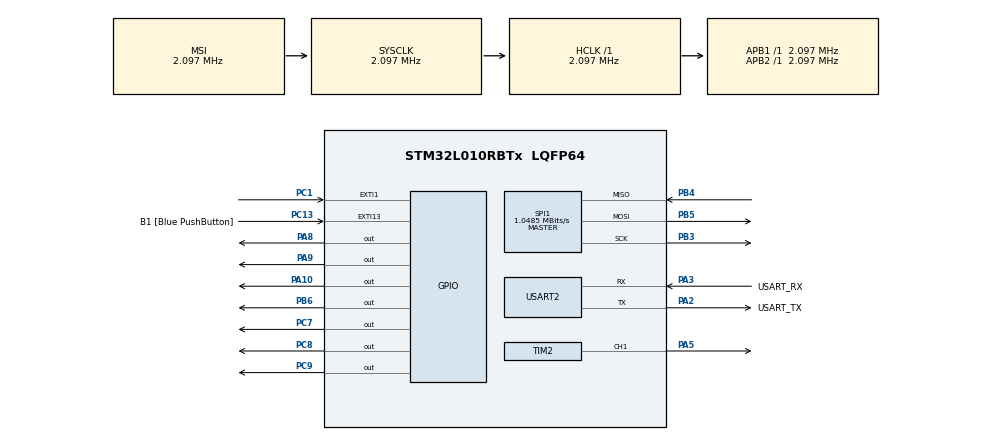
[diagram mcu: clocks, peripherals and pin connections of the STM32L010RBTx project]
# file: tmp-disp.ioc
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Mcu.Family=STM32L0
Mcu.Name=STM32L010RBTx
Mcu.Package=LQFP64
NVIC.EXTI0_1_IRQn=true\:0\:0\:false\:false\:true\:true\:true\:true
NVIC.EXTI4_15_IRQn=true\:0\:0\:false\:false\:true\:true\:true\:true
NVIC.TIM21_IRQn=true\:0\:0\:false\:false\:true\:true\:true\:true
PA10.Signal=GPIO_Output
PA13.GPIO_Label=TMS
PA13.Mode=Serial_Wire
PA13.Signal=SYS_SWDIO
PA14.GPIO_Label=TCK
PA14.Mode=Serial_Wire
PA14.Signal=SYS_SWCLK
PA2.GPIO_Label=USART_TX
PA2.Mode=Asynchronous
PA2.Signal=USART2_TX
PA3.GPIO_Label=USART_RX
PA3.Mode=Asynchronous
PA3.Signal=USART2_RX
PA5.Signal=S_TIM2_CH1
PA8.Signal=GPIO_Output
PA9.Signal=GPIO_Output
PB3.Mode=Full_Duplex_Master
PB3.Signal=SPI1_SCK
PB4.Mode=Full_Duplex_Master
PB4.Signal=SPI1_MISO
PB5.Mode=Full_Duplex_Master
PB5.Signal=SPI1_MOSI
PB6.Signal=GPIO_Output
PC1.GPIO_ModeDefaultEXTI=GPIO_MODE_IT_FALLING
PC1.Signal=GPXTI1
PC13.GPIO_Label=B1 [Blue PushButton]
PC13.GPIO_ModeDefaultEXTI=GPIO_MODE_IT_FALLING
PC13.Signal=GPXTI13
PC14-OSC32_IN.Mode=LSE-External-Oscillator
PC14-OSC32_IN.Signal=RCC_OSC32_IN
PC15-OSC32_OUT.Mode=LSE-External-Oscillator
PC15-OSC32_OUT.Signal=RCC_OSC32_OUT
PC7.Signal=GPIO_Output
PC8.Signal=GPIO_Output
PC9.Signal=GPIO_Output
PH0-OSC_IN.GPIO_Label=MCO
PH0-OSC_IN.Mode=HSE-External-Clock-Source
PH0-OSC_IN.Signal=RCC_OSC_IN
ProjectManager.HeapSize=0x200
ProjectManager.StackSize=0x400
ProjectManager.TargetToolchain=STM32CubeIDE
RCC.AHBFreq_Value=2097000
RCC.APB1Freq_Value=2097000
RCC.APB1TimFreq_Value=2097000
RCC.APB2Freq_Value=2097000
RCC.APB2TimFreq_Value=2097000
RCC.HCLKFreq_Value=2097000
RCC.HSE_VALUE=8000000
RCC.HSI16_VALUE=16000000
RCC.HSI48_VALUE=48000000
RCC.HSI_VALUE=16000000
RCC.MSI_VALUE=2097000
RCC.SYSCLKFreq_VALUE=2097000
RCC.VCOOutputFreq_Value=48000000
SH.S_TIM2_CH1.0=TIM2_CH1,PWM Generation1 CH1
SPI1.CalculateBaudRate=1.0485 MBits/s
SPI1.Direction=SPI_DIRECTION_2LINES
SPI1.Mode=SPI_MODE_MASTER
SPI1.VirtualType=VM_MASTER
TIM2.Channel-PWM\ Generation1\ CH1=TIM_CHANNEL_1
TIM2.Period=2096
TIM2.Prescaler=0
TIM21.Period=1000-1
TIM21.Prescaler=2097-1
USART2.VirtualMode-Asynchronous=VM_ASYNC
VP_TIM21_VS_ClockSourceINT.Mode=Internal
board=NUCLEO-L010RB

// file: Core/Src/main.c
/* USER CODE BEGIN Header */
/**
  ******************************************************************************
  * @file           : main.c
  * @brief          : Main program body
  ******************************************************************************
  * @attention
  *
  * Copyright (c) 2024 STMicroelectronics.
  * All rights reserved.
  *
  * This software is licensed under terms that can be found in the LICENSE file
  * in the root directory of this software component.
  * If no LICENSE file comes with this software, it is provided AS-IS.
  *
  ******************************************************************************
  */
/* USER CODE END Header */
#include "main.h"

/* USER CODE BEGIN Includes */
#include <stdlib.h>
#include <stdio.h>
#include <string.h>
#include "bme280.h"

// #define USE_XCIOS

#ifdef USE_XCIOS
#include "TmpDisp.h"
#else
#include "TmpDisp.h"
#endif
/* USER CODE END Includes */

/* USER CODE BEGIN PD */
#define RS_PORT GPIOC
#define RS_PIN GPIO_PIN_7
#define EN_PORT GPIOC
#define EN_PIN GPIO_PIN_8
#define D4_PORT GPIOC
#define D4_PIN GPIO_PIN_9
#define D5_PORT GPIOA
#define D5_PIN GPIO_PIN_8
#define D6_PORT GPIOA
#define D6_PIN GPIO_PIN_9
#define D7_PORT GPIOA
#define D7_PIN GPIO_PIN_10

#define CSB_PORT GPIOB
#define CSB_PIN GPIO_PIN_6
/* USER CODE END PD */

SPI_HandleTypeDef hspi1;

TIM_HandleTypeDef htim2;
TIM_HandleTypeDef htim21;

UART_HandleTypeDef huart2;

/* USER CODE BEGIN PV */
static uint8_t txData[200], rxData[200];
static char printBuf[32];
static struct bme280_dev dev;
static volatile int buttonPressed = 0;
static volatile int clock = 0;
/* USER CODE END PV */

void SystemClock_Config(void);
static void MX_GPIO_Init(void);
static void MX_USART2_UART_Init(void);
static void MX_SPI1_Init(void);
static void MX_TIM2_Init(void);
static void MX_TIM21_Init(void);

/* USER CODE BEGIN 0 */

// for printf
int __io_putchar(int ch) {
	HAL_UART_Transmit(&huart2, (const uint8_t*)&ch, 1, HAL_MAX_DELAY);
	return 0;
}

/* BME280 --------------------------------------------------------------------*/

BME280_INTF_RET_TYPE bme280_spi_read(uint8_t reg_addr, uint8_t *reg_data, uint32_t length, void *intf_ptr)
{
  txData[0] = reg_addr | 0x80;
  HAL_GPIO_WritePin(CSB_PORT, CSB_PIN, GPIO_PIN_RESET);
  HAL_SPI_TransmitReceive((SPI_HandleTypeDef*)intf_ptr, txData, rxData, length + 1, HAL_MAX_DELAY);
  HAL_GPIO_WritePin(CSB_PORT, CSB_PIN, GPIO_PIN_SET);
  memcpy(reg_data, &rxData[1], length);
  return BME280_OK;
}

BME280_INTF_RET_TYPE bme280_spi_write(uint8_t reg_addr, const uint8_t *reg_data, uint32_t length, void *intf_ptr)
{
  txData[0] = reg_addr & 0x7F;
  memcpy(&txData[1], reg_data, length);
  HAL_GPIO_WritePin(CSB_PORT, CSB_PIN, GPIO_PIN_RESET);
  HAL_SPI_Transmit((SPI_HandleTypeDef*)intf_ptr, txData, length + 1, HAL_MAX_DELAY);
  HAL_GPIO_WritePin(CSB_PORT, CSB_PIN, GPIO_PIN_SET);
  return BME280_OK;
}

void bme280_delay_us(uint32_t period, void *intf_ptr)
{
  HAL_Delay((period + 999) / 1000); // round up
}

void bme280_error_codes_print_result(const char api_name[], int8_t rslt)
{
    if (rslt != BME280_OK)
    {
        printf("%s\t", api_name);

        switch (rslt)
        {
            case BME280_E_NULL_PTR:
                printf("Error [%d] : Null pointer error.", rslt);
                printf(
                    "It occurs when the user tries to assign value (not address) to a pointer, which has been initialized to NULL.\r\n");
                break;

            case BME280_E_COMM_FAIL:
                printf("Error [%d] : Communication failure error.", rslt);
                printf(
                    "It occurs due to read/write operation failure and also due to power failure during communication\r\n");
                break;

            case BME280_E_DEV_NOT_FOUND:
                printf("Error [%d] : Device not found error. It occurs when the device chip id is incorrectly read\r\n",
                       rslt);
                break;

            case BME280_E_INVALID_LEN:
                printf("Error [%d] : Invalid length error. It occurs when write is done with invalid length\r\n", rslt);
                break;

            default:
                printf("Error [%d] : Unknown error code\r\n", rslt);
                break;
        }
    }
}

void init_bme280(struct bme280_dev *dev) {
  HAL_StatusTypeDef rslt;
  uint8_t chip_id;
  struct bme280_settings settings;

  dev->read = bme280_spi_read;
  dev->write = bme280_spi_write;
  dev->intf = BME280_SPI_INTF;
  dev->intf_ptr = (void*)&hspi1;
  dev->delay_us = bme280_delay_us;

  rslt = bme280_get_regs(BME280_REG_CHIP_ID, &chip_id, 1, dev);
  bme280_error_codes_print_result("bme280_get_regs", rslt);

  if (chip_id != 0x60) while(1);

  rslt = bme280_get_regs(BME280_REG_CONFIG, &chip_id, 1, dev);
  bme280_error_codes_print_result("bme280_get_regs", rslt);

  uint8_t reg_addr = BME280_REG_RESET;
  uint8_t rst = 0xB6;
  rslt = bme280_set_regs(&reg_addr, &rst, 1, dev);
  bme280_error_codes_print_result("bme280_set_regs", rslt);

  rslt = bme280_init(dev);
  bme280_error_codes_print_result("bme280_init", rslt);

  rslt = bme280_get_sensor_settings(&settings, dev);
  bme280_error_codes_print_result("bme280_get_sensor_settings", rslt);

  /* Configuring the over-sampling rate, filter coefficient and standby time */
  /* Overwrite the desired settings */
  settings.filter = BME280_FILTER_COEFF_2;

  /* Over-sampling rate for humidity, temperature and pressure */
  settings.osr_h = BME280_OVERSAMPLING_1X;
  settings.osr_p = BME280_OVERSAMPLING_1X;
  settings.osr_t = BME280_OVERSAMPLING_1X;

  /* Setting the standby time */
  settings.standby_time = BME280_STANDBY_TIME_125_MS;

  rslt = bme280_set_sensor_settings(BME280_SEL_ALL_SETTINGS, &settings, dev);
  bme280_error_codes_print_result("bme280_set_sensor_settings", rslt);

  rslt = bme280_set_sensor_mode(BME280_POWERMODE_NORMAL, dev);
  bme280_error_codes_print_result("bme280_set_sensor_mode", rslt);
}

/* LCD 1602A -----------------------------------------------------------------*/

// rs = 1 for data, rs = 0 for command
void send_lcd(char data, int rs)
{
	HAL_GPIO_WritePin(RS_PORT, RS_PIN, rs);

	HAL_GPIO_WritePin(D7_PORT, D7_PIN, (data >> 3) & 0x01);
	HAL_GPIO_WritePin(D6_PORT, D6_PIN, (data >> 2) & 0x01);
	HAL_GPIO_WritePin(D5_PORT, D5_PIN, (data >> 1) & 0x01);
	HAL_GPIO_WritePin(D4_PORT, D4_PIN, (data >> 0) & 0x01);

	HAL_GPIO_WritePin(EN_PORT, EN_PIN, 1);
	HAL_GPIO_WritePin(EN_PORT, EN_PIN, 0);
}

void lcd_send_cmd(char cmd)
{
	send_lcd((cmd >> 4) & 0x0f, 0); // 上位4bit
	send_lcd((cmd >> 0) & 0x0f, 0); // 下位4bit
}

void lcd_send_data(char data)
{
	send_lcd((data >> 4) & 0x0f, 1);
	send_lcd((data >> 0) & 0x0f, 1);
}

void lcd_send_string(char *str) {
	while (*str) {
		lcd_send_data(*str);
		str++;
	}
}

void lcd_clear() {
	lcd_send_cmd(0x01);
}

void lcd_put_cur(int row, int col)
{
    switch (row)
    {
        case 0:
            col |= 0x80;
            break;
        case 1:
            col |= 0xC0;
            break;
    }
    lcd_send_cmd (col);
}

void lcd_init()
{
    // 4 bit initialisation
    HAL_Delay(50);  // wait for >40ms
    lcd_send_cmd (0x30);
    HAL_Delay(5);  // wait for >4.1ms
    lcd_send_cmd (0x30);
    HAL_Delay(1);  // wait for >100us
    lcd_send_cmd (0x30);
    HAL_Delay(10);
    lcd_send_cmd (0x20);  // 4bit mode
    HAL_Delay(10);

    // dislay initialisation
    lcd_send_cmd (0x28); // Function set --> DL=0 (4 bit mode), N = 1 (2 line display) F = 0 (5x8 characters)
    HAL_Delay(1);
    lcd_send_cmd (0x08); //Display on/off control --> D=0,C=0, B=0  ---> display off
    HAL_Delay(1);
    lcd_send_cmd (0x01);  // clear display
    HAL_Delay(2);
    lcd_send_cmd (0x06); //Entry mode set --> I/D = 1 (increment cursor) & S = 0 (no shift)
    HAL_Delay(1);
    lcd_send_cmd (0x0C); //Display on/off control --> D = 1, C and B = 0. (Cursor and blink, last two bits)
    HAL_Delay(1);
}

void lcd_off() {
    lcd_send_cmd(0x08);
    HAL_Delay(1);
}

/* Interrupt handler ---------------------------------------------------------*/

void HAL_GPIO_EXTI_Callback(uint16_t GPIO_Pin)
{
  if (GPIO_Pin == GPIO_PIN_1)
  {
    buttonPressed = 1;
  }
}

void HAL_TIM_PeriodElapsedCallback(TIM_HandleTypeDef *htim)
{
    if (htim == &htim21)
    {
        clock++;
    }
}

/* XStorm callbacks ----------------------------------------------------------*/

int read_clock() {
	return clock;
}

int read_button() {
	if (buttonPressed)
	{
		buttonPressed = 0;
		return 1;
	}
	else
	{
		return 0;
	}
}

struct TupleDoubleDouble* fetch_tmphmd() {
	struct bme280_data comp_data;
	int8_t rslt = BME280_E_NULL_PTR;

    /* Measurement time delay given to read sample */
    HAL_Delay(125);
    /* Read compensated data */
    rslt = bme280_get_sensor_data(BME280_HUM | BME280_TEMP, &comp_data, &dev);
	bme280_error_codes_print_result("bme280_get_sensor_data", rslt);

    return TupleDoubleDouble_Cons(comp_data.temperature, comp_data.humidity);
}

void turnon_lcd() {
	lcd_init();
	__HAL_TIM_SET_COMPARE(&htim2, TIM_CHANNEL_1, 2096);
}

void turnoff_lcd() {
	lcd_off();
	__HAL_TIM_SET_COMPARE(&htim2, TIM_CHANNEL_1, 0);
}

void display_tmphmd(struct TupleDoubleDouble *tmphmd) {
	lcd_clear();

    sprintf(printBuf, "TMP: %d \xdf""C", (int)tmphmd->member0);
    lcd_put_cur(0, 0);
    HAL_Delay(1);
    lcd_send_string(printBuf);
    HAL_Delay(10);

    sprintf(printBuf, "HMD: %d %%", (int)tmphmd->member1);
    lcd_put_cur(1, 0);
    HAL_Delay(1);
    lcd_send_string(printBuf);
    HAL_Delay(10);
}

#ifndef USE_XCIOS

void input(int* clk, int* show, struct TupleDoubleDouble** tmphmd) {
	*clk = read_clock();
    *show = read_button();
	*tmphmd = fetch_tmphmd();
}

void output(struct TupleDoubleDouble** tmphmd /* , int* nextTmpHmdDispMode */) {
	// static int currTmpHmdDispMode = 0;
    // if (currTmpHmdDispMode == 1) {
	    display_tmphmd(*tmphmd);
    // }

	/*
	if (currTmpHmdDispMode == 0 && *nextTmpHmdDispMode == 1)
	{
		turnon_lcd();
	}
	if (currTmpHmdDispMode == 1 && *nextTmpHmdDispMode == 0)
	{
		turnoff_lcd();
	}
	currTmpHmdDispMode = *nextTmpHmdDispMode;
	*/
}

#endif

/* XCios callbacks -----------------------------------------------------------*/

#ifdef USE_XCIOS

struct TupleDoubleDouble* input_tmpHmd() {
	return fetch_tmphmd();
}

int input_show() {
	return read_button();
}

int input_clock() {
	return read_clock();
}

void output_tmpHmdDisp(struct TupleDoubleDouble* tmphmd) {
	display_tmphmd(tmphmd);
}

void hook_tmpHmdDisp_ModeTmpDispOnOff_On_to_ModeTmpDispOnOff_Off() {
	turnoff_lcd();
}

void hook_tmpHmdDisp_ModeTmpDispOnOff_Off_to_ModeTmpDispOnOff_On() {
	turnon_lcd();
}

#endif

/* USER CODE END 0 */

int main(void)
{

  /* MCU Configuration--------------------------------------------------------*/

  /* Reset of all peripherals, Initializes the Flash interface and the Systick. */
  HAL_Init();

  /* Configure the system clock */
  SystemClock_Config();

  /* Initialize all configured peripherals */
  MX_GPIO_Init();
  MX_USART2_UART_Init();
  MX_SPI1_Init();
  MX_TIM2_Init();
  MX_TIM21_Init();
  /* USER CODE BEGIN 2 */
  init_bme280(&dev);
  HAL_TIM_PWM_Start(&htim2, TIM_CHANNEL_1);
  HAL_TIM_Base_Start_IT(&htim21);
  turnon_lcd();

  activate();
  /* USER CODE END 2 */

  /* Infinite loop */
  while (1)
  {

  }
}

void SystemClock_Config(void)
{
  RCC_OscInitTypeDef RCC_OscInitStruct = {0};
  RCC_ClkInitTypeDef RCC_ClkInitStruct = {0};
  RCC_PeriphCLKInitTypeDef PeriphClkInit = {0};

  /** Configure the main internal regulator output voltage
  */
  __HAL_PWR_VOLTAGESCALING_CONFIG(PWR_REGULATOR_VOLTAGE_SCALE1);

  /** Initializes the RCC Oscillators according to the specified parameters
  * in the RCC_OscInitTypeDef structure.
  */
  RCC_OscInitStruct.OscillatorType = RCC_OSCILLATORTYPE_MSI;
  RCC_OscInitStruct.MSIState = RCC_MSI_ON;
  RCC_OscInitStruct.MSICalibrationValue = 0;
  RCC_OscInitStruct.MSIClockRange = RCC_MSIRANGE_5;
  RCC_OscInitStruct.PLL.PLLState = RCC_PLL_NONE;
  if (HAL_RCC_OscConfig(&RCC_OscInitStruct) != HAL_OK)
  {
    Error_Handler();
  }

  /** Initializes the CPU, AHB and APB buses clocks
  */
  RCC_ClkInitStruct.ClockType = RCC_CLOCKTYPE_HCLK|RCC_CLOCKTYPE_SYSCLK
                              |RCC_CLOCKTYPE_PCLK1|RCC_CLOCKTYPE_PCLK2;
  RCC_ClkInitStruct.SYSCLKSource = RCC_SYSCLKSOURCE_MSI;
  RCC_ClkInitStruct.AHBCLKDivider = RCC_SYSCLK_DIV1;
  RCC_ClkInitStruct.APB1CLKDivider = RCC_HCLK_DIV1;
  RCC_ClkInitStruct.APB2CLKDivider = RCC_HCLK_DIV1;

  if (HAL_RCC_ClockConfig(&RCC_ClkInitStruct, FLASH_LATENCY_0) != HAL_OK)
  {
    Error_Handler();
  }
  PeriphClkInit.PeriphClockSelection = RCC_PERIPHCLK_USART2;
  PeriphClkInit.Usart2ClockSelection = RCC_USART2CLKSOURCE_PCLK1;
  if (HAL_RCCEx_PeriphCLKConfig(&PeriphClkInit) != HAL_OK)
  {
    Error_Handler();
  }
}

static void MX_SPI1_Init(void)
{

  /* SPI1 parameter configuration*/
  hspi1.Instance = SPI1;
  hspi1.Init.Mode = SPI_MODE_MASTER;
  hspi1.Init.Direction = SPI_DIRECTION_2LINES;
  hspi1.Init.DataSize = SPI_DATASIZE_8BIT;
  hspi1.Init.CLKPolarity = SPI_POLARITY_LOW;
  hspi1.Init.CLKPhase = SPI_PHASE_1EDGE;
  hspi1.Init.NSS = SPI_NSS_SOFT;
  hspi1.Init.BaudRatePrescaler = SPI_BAUDRATEPRESCALER_2;
  hspi1.Init.FirstBit = SPI_FIRSTBIT_MSB;
  hspi1.Init.TIMode = SPI_TIMODE_DISABLE;
  hspi1.Init.CRCCalculation = SPI_CRCCALCULATION_DISABLE;
  hspi1.Init.CRCPolynomial = 7;
  if (HAL_SPI_Init(&hspi1) != HAL_OK)
  {
    Error_Handler();
  }

}

static void MX_TIM2_Init(void)
{

  TIM_MasterConfigTypeDef sMasterConfig = {0};
  TIM_OC_InitTypeDef sConfigOC = {0};

  htim2.Instance = TIM2;
  htim2.Init.Prescaler = 0;
  htim2.Init.CounterMode = TIM_COUNTERMODE_UP;
  htim2.Init.Period = 2096;
  htim2.Init.ClockDivision = TIM_CLOCKDIVISION_DIV1;
  htim2.Init.AutoReloadPreload = TIM_AUTORELOAD_PRELOAD_DISABLE;
  if (HAL_TIM_PWM_Init(&htim2) != HAL_OK)
  {
    Error_Handler();
  }
  sMasterConfig.MasterOutputTrigger = TIM_TRGO_RESET;
  sMasterConfig.MasterSlaveMode = TIM_MASTERSLAVEMODE_DISABLE;
  if (HAL_TIMEx_MasterConfigSynchronization(&htim2, &sMasterConfig) != HAL_OK)
  {
    Error_Handler();
  }
  sConfigOC.OCMode = TIM_OCMODE_PWM1;
  sConfigOC.Pulse = 0;
  sConfigOC.OCPolarity = TIM_OCPOLARITY_HIGH;
  sConfigOC.OCFastMode = TIM_OCFAST_DISABLE;
  if (HAL_TIM_PWM_ConfigChannel(&htim2, &sConfigOC, TIM_CHANNEL_1) != HAL_OK)
  {
    Error_Handler();
  }
  HAL_TIM_MspPostInit(&htim2);

}

static void MX_TIM21_Init(void)
{

  TIM_ClockConfigTypeDef sClockSourceConfig = {0};
  TIM_MasterConfigTypeDef sMasterConfig = {0};

  htim21.Instance = TIM21;
  htim21.Init.Prescaler = 2097-1;
  htim21.Init.CounterMode = TIM_COUNTERMODE_UP;
  htim21.Init.Period = 1000-1;
  htim21.Init.ClockDivision = TIM_CLOCKDIVISION_DIV1;
  htim21.Init.AutoReloadPreload = TIM_AUTORELOAD_PRELOAD_DISABLE;
  if (HAL_TIM_Base_Init(&htim21) != HAL_OK)
  {
    Error_Handler();
  }
  sClockSourceConfig.ClockSource = TIM_CLOCKSOURCE_INTERNAL;
  if (HAL_TIM_ConfigClockSource(&htim21, &sClockSourceConfig) != HAL_OK)
  {
    Error_Handler();
  }
  sMasterConfig.MasterOutputTrigger = TIM_TRGO_RESET;
  sMasterConfig.MasterSlaveMode = TIM_MASTERSLAVEMODE_DISABLE;
  if (HAL_TIMEx_MasterConfigSynchronization(&htim21, &sMasterConfig) != HAL_OK)
  {
    Error_Handler();
  }

}

static void MX_USART2_UART_Init(void)
{

  huart2.Instance = USART2;
  huart2.Init.BaudRate = 115200;
  huart2.Init.WordLength = UART_WORDLENGTH_8B;
  huart2.Init.StopBits = UART_STOPBITS_1;
  huart2.Init.Parity = UART_PARITY_NONE;
  huart2.Init.Mode = UART_MODE_TX_RX;
  huart2.Init.HwFlowCtl = UART_HWCONTROL_NONE;
  huart2.Init.OverSampling = UART_OVERSAMPLING_16;
  huart2.Init.OneBitSampling = UART_ONE_BIT_SAMPLE_DISABLE;
  huart2.AdvancedInit.AdvFeatureInit = UART_ADVFEATURE_NO_INIT;
  if (HAL_UART_Init(&huart2) != HAL_OK)
  {
    Error_Handler();
  }

}

static void MX_GPIO_Init(void)
{
  GPIO_InitTypeDef GPIO_InitStruct = {0};

  /* GPIO Ports Clock Enable */
  __HAL_RCC_GPIOC_CLK_ENABLE();
  __HAL_RCC_GPIOH_CLK_ENABLE();
  __HAL_RCC_GPIOA_CLK_ENABLE();
  __HAL_RCC_GPIOB_CLK_ENABLE();

  /*Configure GPIO pin Output Level */
  HAL_GPIO_WritePin(GPIOC, GPIO_PIN_7|GPIO_PIN_8|GPIO_PIN_9, GPIO_PIN_RESET);

  /*Configure GPIO pin Output Level */
  HAL_GPIO_WritePin(GPIOA, GPIO_PIN_8|GPIO_PIN_9|GPIO_PIN_10, GPIO_PIN_RESET);

  /*Configure GPIO pin Output Level */
  HAL_GPIO_WritePin(GPIOB, GPIO_PIN_6, GPIO_PIN_RESET);

  /*Configure GPIO pins : B1_Pin PC1 */
  GPIO_InitStruct.Pin = B1_Pin|GPIO_PIN_1;
  GPIO_InitStruct.Mode = GPIO_MODE_IT_FALLING;
  GPIO_InitStruct.Pull = GPIO_NOPULL;
  HAL_GPIO_Init(GPIOC, &GPIO_InitStruct);

  /*Configure GPIO pins : PC7 PC8 PC9 */
  GPIO_InitStruct.Pin = GPIO_PIN_7|GPIO_PIN_8|GPIO_PIN_9;
  GPIO_InitStruct.Mode = GPIO_MODE_OUTPUT_PP;
  GPIO_InitStruct.Pull = GPIO_NOPULL;
  GPIO_InitStruct.Speed = GPIO_SPEED_FREQ_LOW;
  HAL_GPIO_Init(GPIOC, &GPIO_InitStruct);

  /*Configure GPIO pins : PA8 PA9 PA10 */
  GPIO_InitStruct.Pin = GPIO_PIN_8|GPIO_PIN_9|GPIO_PIN_10;
  GPIO_InitStruct.Mode = GPIO_MODE_OUTPUT_PP;
  GPIO_InitStruct.Pull = GPIO_NOPULL;
  GPIO_InitStruct.Speed = GPIO_SPEED_FREQ_LOW;
  HAL_GPIO_Init(GPIOA, &GPIO_InitStruct);

  /*Configure GPIO pin : PB6 */
  GPIO_InitStruct.Pin = GPIO_PIN_6;
  GPIO_InitStruct.Mode = GPIO_MODE_OUTPUT_PP;
  GPIO_InitStruct.Pull = GPIO_NOPULL;
  GPIO_InitStruct.Speed = GPIO_SPEED_FREQ_LOW;
  HAL_GPIO_Init(GPIOB, &GPIO_InitStruct);

  /* EXTI interrupt init*/
  HAL_NVIC_SetPriority(EXTI0_1_IRQn, 0, 0);
  HAL_NVIC_EnableIRQ(EXTI0_1_IRQn);

  HAL_NVIC_SetPriority(EXTI4_15_IRQn, 0, 0);
  HAL_NVIC_EnableIRQ(EXTI4_15_IRQn);

}

void Error_Handler(void)
{
  __disable_irq();
  while (1)
  {
  }
}
